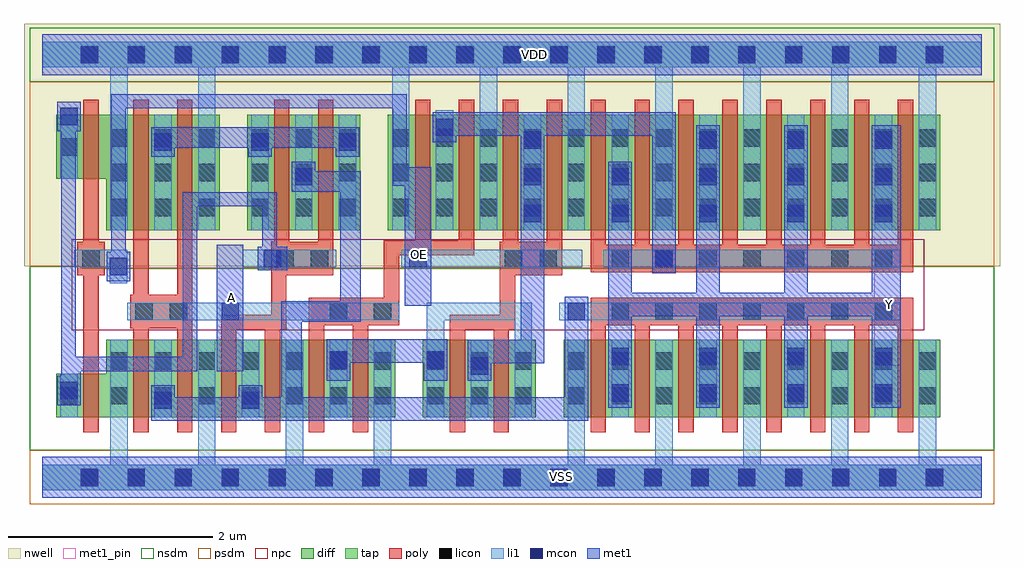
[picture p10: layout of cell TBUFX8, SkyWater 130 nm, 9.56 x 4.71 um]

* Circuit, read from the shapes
.subckt TBUFX8 A OE VDD VSS Y
XM1 VSS OE n1 VSS sky130_fd_pr__nfet_01v8 w=0.425 l=0.15
XM2 n2 A VSS VSS sky130_fd_pr__nfet_01v8 w=0.76 l=0.15 m=2
XM3 n2 n1 VSS VSS sky130_fd_pr__nfet_01v8 w=0.76 l=0.15 m=2
XM4 n3 A VSS VSS sky130_fd_pr__nfet_01v8 w=0.76 l=0.15 m=2
XM5 n4 OE n3 VSS sky130_fd_pr__nfet_01v8 w=0.76 l=0.15 m=2
XM6 Y n2 VSS VSS sky130_fd_pr__nfet_01v8 w=0.76 l=0.15 m=8
XM7 VDD OE n1 VDD sky130_fd_pr__pfet_01v8 w=0.625 l=0.15
XM8 n5 A VDD VDD sky130_fd_pr__pfet_01v8 w=1.13 l=0.15 m=2
XM9 n2 n1 n5 VDD sky130_fd_pr__pfet_01v8 w=1.13 l=0.15 m=2
XM10 n4 A VDD VDD sky130_fd_pr__pfet_01v8 w=1.13 l=0.15 m=2
XM11 n4 OE VDD VDD sky130_fd_pr__pfet_01v8 w=1.13 l=0.15 m=2
XM12 Y n4 VDD VDD sky130_fd_pr__pfet_01v8 w=1.13 l=0.15 m=8
.ends

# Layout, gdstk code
from math import pi, radians
import gdstk
lib = gdstk.Library(unit=1e-6, precision=1e-09)
def R(c, l, rs):  # rectangles x0, y0, x1, y1
    for r in rs: c.add(gdstk.rectangle(r[:2], r[2:], *l))
def A(c, l, x, y, w, h, nx, ny, dx, dy):  # array of equal rectangles
    R(c, l, [(x+i*dx, y+j*dy, x+i*dx+w, y+j*dy+h) for i in range(nx) for j in range(ny)])
def P(c, l, *ps):  # polygons
    for p in ps: c.add(gdstk.Polygon(p, *l))
nwell = (64, 20)
diff = (65, 20)
tap = (65, 44)
poly = (66, 20)
licon = (66, 44)
li1 = (67, 20)
mcon = (67, 44)
met1_pin = (68, 16)
met1 = (68, 20)
nsdm = (93, 44)
psdm = (94, 20)
npc = (95, 20)

pfet_01v8_cdns_715785618 = lib.new_cell('pfet_01v8_CDNS_7157856182056')
R(pfet_01v8_cdns_715785618, nwell, [(-0.235,-0.18,3.605,1.31)])
A(pfet_01v8_cdns_715785618, diff, 0, 0, 0.15, 1.13, 8, 1, 0.43, 0)
A(pfet_01v8_cdns_715785618, diff, 0.15, 0, 0.28, 1.13, 7, 1, 0.43, 0)
R(pfet_01v8_cdns_715785618, diff, [(-0.055,0,0,1.13), (3.16,0,3.425,1.13)])
A(pfet_01v8_cdns_715785618, poly, 0, -0.15, 0.15, 0.055, 8, 2, 0.43, 1.375)
A(pfet_01v8_cdns_715785618, poly, 0, -0.095, 0.15, 0.095, 8, 2, 0.43, 1.225)
A(pfet_01v8_cdns_715785618, poly, 0, 0, 0.15, 1.13, 8, 1, 0.43, 0)
A(pfet_01v8_cdns_715785618, licon, 0.205, 0.14, 0.17, 0.17, 8, 3, 0.43, 0.34)
A(pfet_01v8_cdns_715785618, li1, 0.205, 0, 0.17, 1.13, 8, 1, 0.43, 0)
R(pfet_01v8_cdns_715785618, psdm, [(-0.065,-0.13,3.565,1.26)])

nfet_01v8_cdns_715785618 = lib.new_cell('nfet_01v8_CDNS_7157856182057')
R(nfet_01v8_cdns_715785618, diff, [(-0.055,0,0,0.76), (0,0,0.15,0.76), (0.15,0,0.43,0.76), (0.43,0,0.58,0.76), (0.58,0,0.845,0.76)])
R(nfet_01v8_cdns_715785618, poly, [(0,-0.15,0.15,-0.095), (0.43,-0.15,0.58,-0.095), (0,-0.095,0.15,0), (0.43,-0.095,0.58,0), (0,0,0.15,0.76), (0.43,0,0.58,0.76), (0,0.76,0.15,0.855), (0.43,0.76,0.58,0.855), (0,0.855,0.15,0.91), (0.43,0.855,0.58,0.91)])
R(nfet_01v8_cdns_715785618, licon, [(0.205,0.125,0.375,0.295), (0.635,0.125,0.805,0.295), (0.205,0.465,0.375,0.635), (0.635,0.465,0.805,0.635)])
R(nfet_01v8_cdns_715785618, li1, [(0.205,0,0.375,0.76), (0.635,0,0.805,0.76)])
R(nfet_01v8_cdns_715785618, nsdm, [(-0.065,-0.13,0.985,0.89)])

c_nfet_01v8_cdns_715785618 = lib.new_cell('nfet_01v8_CDNS_7157856182058')
R(c_nfet_01v8_cdns_715785618, diff, [(-0.055,0,0,0.76), (0,0,0.15,0.76), (0.15,0,0.43,0.76), (0.43,0,0.58,0.76), (0.58,0,0.805,0.76)])
R(c_nfet_01v8_cdns_715785618, poly, [(0,-0.15,0.15,-0.095), (0.43,-0.15,0.58,-0.095), (0,-0.095,0.15,0), (0.43,-0.095,0.58,0), (0,0,0.15,0.76), (0.43,0,0.58,0.76), (0,0.76,0.15,0.855), (0.43,0.76,0.58,0.855), (0,0.855,0.15,0.91), (0.43,0.855,0.58,0.91)])
R(c_nfet_01v8_cdns_715785618, licon, [(0.205,0.125,0.375,0.295), (0.635,0.125,0.805,0.295), (0.205,0.465,0.375,0.635), (0.635,0.465,0.805,0.635)])
R(c_nfet_01v8_cdns_715785618, li1, [(0.205,0,0.375,0.76), (0.635,0,0.805,0.76)])
R(c_nfet_01v8_cdns_715785618, nsdm, [(-0.065,-0.13,0.815,0.89)])

c_pfet_01v8_cdns_715785618 = lib.new_cell('pfet_01v8_CDNS_7157856182059')
R(c_pfet_01v8_cdns_715785618, nwell, [(-0.235,-0.18,0.985,1.31)])
R(c_pfet_01v8_cdns_715785618, diff, [(-0.055,0,0,1.13), (0,0,0.15,1.13), (0.15,0,0.43,1.13), (0.43,0,0.58,1.13), (0.58,0,0.805,1.13)])
R(c_pfet_01v8_cdns_715785618, poly, [(0,-0.15,0.15,-0.095), (0.43,-0.15,0.58,-0.095), (0,-0.095,0.15,0), (0.43,-0.095,0.58,0), (0,0,0.15,1.13), (0.43,0,0.58,1.13), (0,1.13,0.15,1.225), (0.43,1.13,0.58,1.225), (0,1.225,0.15,1.28), (0.43,1.225,0.58,1.28)])
A(c_pfet_01v8_cdns_715785618, licon, 0.205, 0.14, 0.17, 0.17, 1, 3, 0, 0.34)
A(c_pfet_01v8_cdns_715785618, licon, 0.635, 0.14, 0.17, 0.17, 1, 3, 0, 0.34)
R(c_pfet_01v8_cdns_715785618, li1, [(0.205,0,0.375,1.13), (0.635,0,0.805,1.13)])
R(c_pfet_01v8_cdns_715785618, psdm, [(-0.065,-0.13,0.815,1.26)])

c_pfet_01v8_cdns_715785618_ = lib.new_cell('pfet_01v8_CDNS_7157856182060')
R(c_pfet_01v8_cdns_715785618_, nwell, [(-0.445,-0.18,1.025,1.31)])
R(c_pfet_01v8_cdns_715785618_, diff, [(-0.265,0,0,1.13), (0,0,0.15,1.13), (0.15,0,0.43,1.13), (0.43,0,0.58,1.13), (0.58,0,0.845,1.13)])
R(c_pfet_01v8_cdns_715785618_, poly, [(0,-0.15,0.15,-0.095), (0.43,-0.15,0.58,-0.095), (0,-0.095,0.15,0), (0.43,-0.095,0.58,0), (0,0,0.15,1.13), (0.43,0,0.58,1.13), (0,1.13,0.15,1.225), (0.43,1.13,0.58,1.225), (0,1.225,0.15,1.28), (0.43,1.225,0.58,1.28)])
A(c_pfet_01v8_cdns_715785618_, licon, -0.225, 0.14, 0.17, 0.17, 3, 3, 0.43, 0.34)
A(c_pfet_01v8_cdns_715785618_, li1, -0.225, 0, 0.17, 1.13, 3, 1, 0.43, 0)
R(c_pfet_01v8_cdns_715785618_, psdm, [(-0.405,-0.13,0.985,1.26)])

c_nfet_01v8_cdns_715785618_ = lib.new_cell('nfet_01v8_CDNS_7157856182061')
R(c_nfet_01v8_cdns_715785618_, diff, [(-0.265,0,0,0.76), (0,0,0.15,0.76), (0.15,0,0.43,0.76), (0.43,0,0.58,0.76), (0.58,0,0.845,0.76)])
R(c_nfet_01v8_cdns_715785618_, poly, [(0,-0.15,0.15,-0.095), (0.43,-0.15,0.58,-0.095), (0,-0.095,0.15,0), (0.43,-0.095,0.58,0), (0,0,0.15,0.76), (0.43,0,0.58,0.76), (0,0.76,0.15,0.855), (0.43,0.76,0.58,0.855), (0,0.855,0.15,0.91), (0.43,0.855,0.58,0.91)])
A(c_nfet_01v8_cdns_715785618_, licon, -0.225, 0.125, 0.17, 0.17, 3, 2, 0.43, 0.34)
A(c_nfet_01v8_cdns_715785618_, li1, -0.225, 0, 0.17, 0.76, 3, 1, 0.43, 0)
R(c_nfet_01v8_cdns_715785618_, nsdm, [(-0.405,-0.13,0.985,0.89)])

c_pfet_01v8_cdns_715785618__ = lib.new_cell('pfet_01v8_CDNS_7157856182062')
R(c_pfet_01v8_cdns_715785618__, nwell, [(-0.255,-0.18,0.595,0.805)])
R(c_pfet_01v8_cdns_715785618__, diff, [(-0.075,0,0,0.625), (0,0,0.15,0.625), (0.15,0,0.415,0.625)])
R(c_pfet_01v8_cdns_715785618__, poly, [(0,-0.15,0.15,-0.095), (0,-0.095,0.15,0), (0,0,0.15,0.625), (0,0.625,0.15,0.72), (0,0.72,0.15,0.775)])
R(c_pfet_01v8_cdns_715785618__, licon, [(0.205,0.225,0.375,0.395)])
R(c_pfet_01v8_cdns_715785618__, li1, [(0.205,0,0.375,0.625)])
R(c_pfet_01v8_cdns_715785618__, psdm, [(0.045,-0.13,0.555,0.755)])

c_nfet_01v8_cdns_715785618__ = lib.new_cell('nfet_01v8_CDNS_7157856182063')
R(c_nfet_01v8_cdns_715785618__, diff, [(-0.265,0,0,0.76), (0,0,0.15,0.76), (0.15,0,0.43,0.76), (0.43,0,0.58,0.76), (0.58,0,0.805,0.76)])
R(c_nfet_01v8_cdns_715785618__, poly, [(0,-0.15,0.15,-0.095), (0.43,-0.15,0.58,-0.095), (0,-0.095,0.15,0), (0.43,-0.095,0.58,0), (0,0,0.15,0.76), (0.43,0,0.58,0.76), (0,0.76,0.15,0.855), (0.43,0.76,0.58,0.855), (0,0.855,0.15,0.91), (0.43,0.855,0.58,0.91)])
A(c_nfet_01v8_cdns_715785618__, licon, -0.225, 0.125, 0.17, 0.17, 3, 2, 0.43, 0.34)
A(c_nfet_01v8_cdns_715785618__, li1, -0.225, 0, 0.17, 0.76, 3, 1, 0.43, 0)
R(c_nfet_01v8_cdns_715785618__, nsdm, [(-0.405,-0.13,0.815,0.89)])

c_nfet_01v8_cdns_715785618___ = lib.new_cell('nfet_01v8_CDNS_7157856182064')
A(c_nfet_01v8_cdns_715785618___, diff, 0, 0, 0.15, 0.76, 8, 1, 0.43, 0)
A(c_nfet_01v8_cdns_715785618___, diff, 0.15, 0, 0.28, 0.76, 7, 1, 0.43, 0)
R(c_nfet_01v8_cdns_715785618___, diff, [(-0.265,0,0,0.76), (3.16,0,3.425,0.76)])
A(c_nfet_01v8_cdns_715785618___, poly, 0, -0.15, 0.15, 0.055, 8, 2, 0.43, 1.005)
A(c_nfet_01v8_cdns_715785618___, poly, 0, -0.095, 0.15, 0.095, 8, 2, 0.43, 0.855)
A(c_nfet_01v8_cdns_715785618___, poly, 0, 0, 0.15, 0.76, 8, 1, 0.43, 0)
A(c_nfet_01v8_cdns_715785618___, licon, -0.225, 0.125, 0.17, 0.17, 9, 2, 0.43, 0.34)
A(c_nfet_01v8_cdns_715785618___, li1, -0.225, 0, 0.17, 0.76, 9, 1, 0.43, 0)
R(c_nfet_01v8_cdns_715785618___, nsdm, [(-0.405,-0.13,3.565,0.89)])

c_nfet_01v8_cdns_715785618____ = lib.new_cell('nfet_01v8_CDNS_7157856182065')
R(c_nfet_01v8_cdns_715785618____, diff, [(-0.075,0,0,0.425), (0,0,0.15,0.425), (0.15,0,0.415,0.425)])
R(c_nfet_01v8_cdns_715785618____, poly, [(0,-0.15,0.15,-0.095), (0,-0.095,0.15,0), (0,0,0.15,0.425), (0,0.425,0.15,0.52), (0,0.52,0.15,0.575)])
R(c_nfet_01v8_cdns_715785618____, licon, [(0.205,0.125,0.375,0.295)])
R(c_nfet_01v8_cdns_715785618____, li1, [(0.205,0,0.375,0.425)])
R(c_nfet_01v8_cdns_715785618____, nsdm, [(0.045,-0.13,0.555,0.555)])

c_pfet_01v8_cdns_715785618___ = lib.new_cell('pfet_01v8_CDNS_7157856182066')
R(c_pfet_01v8_cdns_715785618___, nwell, [(-0.445,-0.18,1.025,1.31)])
R(c_pfet_01v8_cdns_715785618___, diff, [(-0.265,0,0,1.13), (0,0,0.15,1.13), (0.15,0,0.43,1.13), (0.43,0,0.58,1.13), (0.58,0,0.845,1.13)])
R(c_pfet_01v8_cdns_715785618___, poly, [(0,-0.15,0.15,-0.095), (0.43,-0.15,0.58,-0.095), (0,-0.095,0.15,0), (0.43,-0.095,0.58,0), (0,0,0.15,1.13), (0.43,0,0.58,1.13), (0,1.13,0.15,1.225), (0.43,1.13,0.58,1.225), (0,1.225,0.15,1.28), (0.43,1.225,0.58,1.28)])
A(c_pfet_01v8_cdns_715785618___, licon, -0.225, 0.14, 0.17, 0.17, 3, 3, 0.43, 0.34)
A(c_pfet_01v8_cdns_715785618___, li1, -0.225, 0, 0.17, 1.13, 3, 1, 0.43, 0)
R(c_pfet_01v8_cdns_715785618___, psdm, [(-0.405,-0.13,0.985,1.26)])

c_pfet_01v8_cdns_715785618____ = lib.new_cell('pfet_01v8_CDNS_7157856182067')
R(c_pfet_01v8_cdns_715785618____, nwell, [(-0.445,-0.18,0.985,1.31)])
R(c_pfet_01v8_cdns_715785618____, diff, [(-0.265,0,0,1.13), (0,0,0.15,1.13), (0.15,0,0.43,1.13), (0.43,0,0.58,1.13), (0.58,0,0.805,1.13)])
R(c_pfet_01v8_cdns_715785618____, poly, [(0,-0.15,0.15,-0.095), (0.43,-0.15,0.58,-0.095), (0,-0.095,0.15,0), (0.43,-0.095,0.58,0), (0,0,0.15,1.13), (0.43,0,0.58,1.13), (0,1.13,0.15,1.225), (0.43,1.13,0.58,1.225), (0,1.225,0.15,1.28), (0.43,1.225,0.58,1.28)])
A(c_pfet_01v8_cdns_715785618____, licon, -0.225, 0.14, 0.17, 0.17, 3, 3, 0.43, 0.34)
A(c_pfet_01v8_cdns_715785618____, li1, -0.225, 0, 0.17, 1.13, 3, 1, 0.43, 0)
R(c_pfet_01v8_cdns_715785618____, psdm, [(-0.405,-0.13,0.815,1.26)])

l1m1_c_cdns_715785618208 = lib.new_cell('L1M1_C_CDNS_715785618208')
R(l1m1_c_cdns_715785618208, li1, [(-0.085,-0.085,0.085,0.085)])
R(l1m1_c_cdns_715785618208, mcon, [(-0.085,-0.085,0.085,0.085)])
R(l1m1_c_cdns_715785618208, met1, [(-0.115,-0.145,0.115,0.145)])

l1m1_c_cdns_715785618203 = lib.new_cell('L1M1_C_CDNS_715785618203')
R(l1m1_c_cdns_715785618203, li1, [(-0.165,-0.085,0.165,0.085)])
R(l1m1_c_cdns_715785618203, mcon, [(-0.085,-0.085,0.085,0.085)])
R(l1m1_c_cdns_715785618203, met1, [(-0.115,-0.145,0.115,0.145)])

pyl1con_c_cdns_715785618 = lib.new_cell('PYL1CON_C_CDNS_715785618200')
R(pyl1con_c_cdns_715785618, poly, [(-0.135,-0.165,0.135,0.165)])
R(pyl1con_c_cdns_715785618, licon, [(-0.085,-0.085,0.085,0.085)])
R(pyl1con_c_cdns_715785618, npc, [(-0.185,-0.185,0.185,0.185)])

l1m1_c_cdns_715785618202 = lib.new_cell('L1M1_C_CDNS_715785618202')
R(l1m1_c_cdns_715785618202, li1, [(-0.085,-0.165,0.085,0.165)])
R(l1m1_c_cdns_715785618202, mcon, [(-0.085,-0.085,0.085,0.085)])
R(l1m1_c_cdns_715785618202, met1, [(-0.115,-0.145,0.115,0.145)])

l1m1_c_cdns_715785618205 = lib.new_cell('L1M1_C_CDNS_715785618205')
R(l1m1_c_cdns_715785618205, li1, [(-0.085,-0.345,0.085,0.345)])
R(l1m1_c_cdns_715785618205, mcon, [(-0.085,-0.265,0.085,-0.095), (-0.085,0.095,0.085,0.265)])
R(l1m1_c_cdns_715785618205, met1, [(-0.115,-0.325,0.115,0.325)])

l1m1_c_cdns_715785618204 = lib.new_cell('L1M1_C_CDNS_715785618204')
R(l1m1_c_cdns_715785618204, li1, [(-0.085,-0.525,0.085,0.525)])
A(l1m1_c_cdns_715785618204, mcon, -0.085, -0.445, 0.17, 0.17, 1, 3, 0, 0.36)
R(l1m1_c_cdns_715785618204, met1, [(-0.115,-0.505,0.115,0.505)])

l1m1_c_cdns_715785618201 = lib.new_cell('L1M1_C_CDNS_7157856182019')
R(l1m1_c_cdns_715785618201, li1, [(-0.085,-0.145,0.085,0.145)])
R(l1m1_c_cdns_715785618201, mcon, [(-0.085,-0.085,0.085,0.085)])
R(l1m1_c_cdns_715785618201, met1, [(-0.115,-0.205,0.115,0.205)])

c_l1m1_c_cdns_715785618201 = lib.new_cell('L1M1_C_CDNS_7157856182014')
R(c_l1m1_c_cdns_715785618201, li1, [(-0.085,-0.165,0.085,0.085)])
R(c_l1m1_c_cdns_715785618201, mcon, [(-0.085,-0.085,0.085,0.085)])
R(c_l1m1_c_cdns_715785618201, met1, [(-0.115,-0.145,0.115,0.145)])

l1m1_c_cdns_715785618207 = lib.new_cell('L1M1_C_CDNS_715785618207')
R(l1m1_c_cdns_715785618207, li1, [(-0.165,-0.085,0.165,0.085)])
R(l1m1_c_cdns_715785618207, mcon, [(-0.085,-0.085,0.085,0.085)])
R(l1m1_c_cdns_715785618207, met1, [(-0.145,-0.115,0.145,0.115)])

tbufx8 = lib.new_cell('TBUFX8')
R(tbufx8, nwell, [(-0.18,2.07,9.38,4.445), (-0.18,3.875,9.38,4.445)])
R(tbufx8, poly, [(0.86,1.46,1.47,1.79), (2.24,1.98,2.85,2.31), (4.48,1.98,5.09,2.31)])
A(tbufx8, licon, 0.375, -0.085, 0.17, 0.17, 19, 2, 0.46, 4.14)
A(tbufx8, mcon, 0.375, -0.085, 0.17, 0.17, 19, 2, 0.46, 4.14)
R(tbufx8, met1_pin, [(1.71,1.04,1.97,2.28), (8.15,1.095,8.41,2.335), (3.55,1.68,3.81,3.04)])
R(tbufx8, met1, [(8.125,0.68,8.41,3.45), (3.55,1.68,3.81,3.04)])
R(tbufx8, nsdm, [(-0.125,3.875,9.325,4.405), (-0.125,3.93,9.325,4.35)])
P(tbufx8, nsdm, [(9.325,2.07),(8.325,2.07),(8.325,2.05),(0.39,2.05),(0.39,2.07),(-0.125,2.07),(-0.125,0.265),(9.325,0.265)])
R(tbufx8, psdm, [(-0.125,-0.265,9.325,0.265), (-0.125,-0.21,9.325,0.21)])
P(tbufx8, psdm, [(9.325,3.875),(-0.125,3.875),(-0.125,2.07),(0.37,2.07),(0.37,2.05),(8.345,2.05),(8.345,2.07),(9.325,2.07)])
R(tbufx8, npc, [(0.29,1.44,8.64,2.33)])
tbufx8.add(gdstk.FlexPath([(1.75,1.52),(2.315,1.52)], 0.15, ends=(0, 0.075), simple_path=True, layer=66, datatype=20))  # poly
tbufx8.add(gdstk.FlexPath([(1.395,1.445),(1.395,2.325)], 0.15, ends="flush", simple_path=True, layer=66, datatype=20))  # poly
tbufx8.add(gdstk.FlexPath([(4.23,2.25),(3.42,2.25)], 0.15, ends=(0, 0.075), simple_path=True, layer=66, datatype=20))  # poly
tbufx8.add(gdstk.FlexPath([(3.115,1.49),(3.115,1.76)], 0.15, ends="flush", simple_path=True, layer=66, datatype=20))  # poly
tbufx8.add(gdstk.FlexPath([(2.685,1.49),(2.685,1.76)], 0.15, ends="flush", simple_path=True, layer=66, datatype=20))  # poly
tbufx8.add(gdstk.FlexPath([(0.475,1.11),(0.475,2.83)], 0.15, ends="flush", simple_path=True, layer=66, datatype=20))  # poly
tbufx8.add(gdstk.FlexPath([(0.965,1.445),(0.965,2.325)], 0.15, ends="flush", simple_path=True, layer=66, datatype=20))  # poly
tbufx8.add(gdstk.FlexPath([(2.315,1.52),(2.315,2.31)], 0.15, ends=(0.075, 0), simple_path=True, layer=66, datatype=20))  # poly
tbufx8.add(gdstk.FlexPath([(8.455,2.01),(8.455,2.28)], 0.15, ends="flush", simple_path=True, layer=66, datatype=20))  # poly
tbufx8.add(gdstk.FlexPath([(8.025,2.01),(8.025,2.28)], 0.15, ends="flush", simple_path=True, layer=66, datatype=20))  # poly
tbufx8.add(gdstk.FlexPath([(7.165,2.01),(7.165,2.28)], 0.15, ends="flush", simple_path=True, layer=66, datatype=20))  # poly
tbufx8.add(gdstk.FlexPath([(7.595,2.01),(7.595,2.28)], 0.15, ends="flush", simple_path=True, layer=66, datatype=20))  # poly
tbufx8.add(gdstk.FlexPath([(3.42,2.25),(3.42,1.49)], 0.15, ends=(0.075, 0), simple_path=True, layer=66, datatype=20))  # poly
tbufx8.add(gdstk.FlexPath([(4.555,1.52),(4.555,2.31)], 0.15, ends=(0.075, 0), simple_path=True, layer=66, datatype=20))  # poly
tbufx8.add(gdstk.FlexPath([(3.99,1.52),(4.555,1.52)], 0.15, ends=(0, 0.075), simple_path=True, layer=66, datatype=20))  # poly
tbufx8.add(gdstk.FlexPath([(6.735,2.01),(6.735,2.28)], 0.15, ends="flush", simple_path=True, layer=66, datatype=20))  # poly
tbufx8.add(gdstk.FlexPath([(5.445,2.01),(5.445,2.28)], 0.15, ends="flush", simple_path=True, layer=66, datatype=20))  # poly
tbufx8.add(gdstk.FlexPath([(5.875,2.01),(5.875,2.28)], 0.15, ends="flush", simple_path=True, layer=66, datatype=20))  # poly
tbufx8.add(gdstk.FlexPath([(6.305,2.01),(6.305,2.28)], 0.15, ends="flush", simple_path=True, layer=66, datatype=20))  # poly
tbufx8.add(gdstk.FlexPath([(8.455,1.49),(8.455,1.76)], 0.15, ends="flush", simple_path=True, layer=66, datatype=20))  # poly
tbufx8.add(gdstk.FlexPath([(7.165,1.49),(7.165,1.76)], 0.15, ends="flush", simple_path=True, layer=66, datatype=20))  # poly
tbufx8.add(gdstk.FlexPath([(7.595,1.49),(7.595,1.76)], 0.15, ends="flush", simple_path=True, layer=66, datatype=20))  # poly
tbufx8.add(gdstk.FlexPath([(6.305,1.49),(6.305,1.76)], 0.15, ends="flush", simple_path=True, layer=66, datatype=20))  # poly
tbufx8.add(gdstk.FlexPath([(8.025,1.49),(8.025,1.76)], 0.15, ends="flush", simple_path=True, layer=66, datatype=20))  # poly
tbufx8.add(gdstk.FlexPath([(6.735,1.49),(6.735,1.76)], 0.15, ends="flush", simple_path=True, layer=66, datatype=20))  # poly
tbufx8.add(gdstk.FlexPath([(5.445,1.49),(5.445,1.76)], 0.15, ends="flush", simple_path=True, layer=66, datatype=20))  # poly
tbufx8.add(gdstk.FlexPath([(5.875,1.49),(5.875,1.76)], 0.15, ends="flush", simple_path=True, layer=66, datatype=20))  # poly
tbufx8.add(gdstk.FlexPath([(0,4.14),(9.2,4.14)], 0.4, ends="flush", simple_path=True, layer=68, datatype=16))  # met1_pin
tbufx8.add(gdstk.FlexPath([(0,0),(9.2,0)], 0.4, ends="flush", simple_path=True, layer=68, datatype=16))  # met1_pin
tbufx8.add(gdstk.FlexPath([(0.745,2.195),(0.755,2.195)], 0.14, ends=(0.07, 0), simple_path=True, layer=68, datatype=20))  # met1
tbufx8.add(gdstk.FlexPath([(0.255,0.85),(0.26,0.85)], 0.14, ends=(0.07, 0), simple_path=True, layer=68, datatype=20))  # met1
tbufx8.add(gdstk.FlexPath([(3.5,2.925),(3.5,3.685)], 0.14, ends="extended", simple_path=True, layer=68, datatype=20))  # met1
tbufx8.add(gdstk.FlexPath([(3.68,2.925),(3.5,2.925)], 0.14, ends="extended", simple_path=True, layer=68, datatype=20))  # met1
tbufx8.add(gdstk.FlexPath([(0.305,0.85),(0.305,1.11)], 0.14, ends=(0.145, 0), simple_path=True, layer=68, datatype=20))  # met1
tbufx8.add(gdstk.FlexPath([(0.26,0.85),(0.305,0.85)], 0.29, ends=(0, 0.07), simple_path=True, layer=68, datatype=20))  # met1
tbufx8.add(gdstk.FlexPath([(3.02,1.625),(2.44,1.625)], 0.2, ends="extended", simple_path=True, layer=68, datatype=20))  # met1
tbufx8.add(gdstk.FlexPath([(0,0),(9.2,0)], 0.4, ends="flush", simple_path=True, layer=68, datatype=20))  # met1
tbufx8.add(gdstk.FlexPath([(3.68,1.98),(3.68,2.925)], 0.14, ends=(0, 0.07), simple_path=True, layer=68, datatype=20))  # met1
tbufx8.add(gdstk.FlexPath([(1.445,2.725),(2.225,2.725)], 0.14, ends="extended", simple_path=True, layer=68, datatype=20))  # met1
tbufx8.add(gdstk.FlexPath([(1.445,1.11),(1.445,2.54)], 0.14, ends="extended", simple_path=True, layer=68, datatype=20))  # met1
tbufx8.add(gdstk.FlexPath([(3.02,2.9),(3.02,1.625)], 0.2, ends="extended", simple_path=True, layer=68, datatype=20))  # met1
tbufx8.add(gdstk.FlexPath([(0.745,3.685),(0.745,2.195)], 0.14, ends="extended", simple_path=True, layer=68, datatype=20))  # met1
tbufx8.add(gdstk.FlexPath([(0.255,3.535),(0.26,3.535)], 0.14, ends=(0.07, 0), simple_path=True, layer=68, datatype=20))  # met1
tbufx8.add(gdstk.FlexPath([(2.225,2.725),(2.225,2.145)], 0.14, ends="extended", simple_path=True, layer=68, datatype=20))  # met1
tbufx8.add(gdstk.FlexPath([(2.56,3.09),(2.56,2.9)], 0.2, ends=(0, 0.1), simple_path=True, layer=68, datatype=20))  # met1
tbufx8.add(gdstk.FlexPath([(1.84,1.04),(1.84,2.28)], 0.26, ends="flush", simple_path=True, layer=68, datatype=20))  # met1
tbufx8.add(gdstk.FlexPath([(8.28,0.68),(8.28,3.45)], 0.26, ends="flush", simple_path=True, layer=68, datatype=20))  # met1
tbufx8.add(gdstk.FlexPath([(2.225,2.145),(2.13,2.145)], 0.14, ends=(0.07, 0), simple_path=True, layer=68, datatype=20))  # met1
tbufx8.add(gdstk.FlexPath([(2.44,0.67),(2.44,0.65)], 0.2, ends=(0.115, 0), simple_path=True, layer=68, datatype=20))  # met1
tbufx8.add(gdstk.FlexPath([(2.95,3.33),(1.165,3.33)], 0.2, ends="flush", simple_path=True, layer=68, datatype=20))  # met1
tbufx8.add(gdstk.FlexPath([(2.44,1.625),(2.44,0.67)], 0.2, ends=(0.1, 0.115), simple_path=True, layer=68, datatype=20))  # met1
tbufx8.add(gdstk.FlexPath([(5.66,1.695),(8.24,1.695)], 0.23, ends="extended", simple_path=True, layer=68, datatype=20))  # met1
tbufx8.add(gdstk.FlexPath([(7.38,0.68),(7.38,3.45)], 0.23, ends="flush", simple_path=True, layer=68, datatype=20))  # met1
tbufx8.add(gdstk.FlexPath([(1.445,2.54),(1.445,2.725)], 0.14, ends="extended", simple_path=True, layer=68, datatype=20))  # met1
tbufx8.add(gdstk.FlexPath([(0.255,3.535),(0.255,0.85)], 0.14, ends="extended", simple_path=True, layer=68, datatype=20))  # met1
tbufx8.add(gdstk.FlexPath([(5.66,0.68),(5.66,3.09)], 0.23, ends="flush", simple_path=True, layer=68, datatype=20))  # met1
tbufx8.add(gdstk.FlexPath([(6.52,0.68),(6.52,3.45)], 0.23, ends="flush", simple_path=True, layer=68, datatype=20))  # met1
tbufx8.add(gdstk.FlexPath([(6.09,3.46),(6.09,2)], 0.23, ends=(0.115, 0), simple_path=True, layer=68, datatype=20))  # met1
tbufx8.add(gdstk.FlexPath([(2.56,2.9),(3.02,2.9)], 0.2, ends="extended", simple_path=True, layer=68, datatype=20))  # met1
tbufx8.add(gdstk.FlexPath([(4.8,1.235),(4.8,3.575)], 0.23, ends=(0.115, 0), simple_path=True, layer=68, datatype=20))  # met1
tbufx8.add(gdstk.FlexPath([(3.835,1.24),(2.885,1.24)], 0.23, ends="flush", simple_path=True, layer=68, datatype=20))  # met1
tbufx8.add(gdstk.FlexPath([(1.18,0.785),(1.18,0.67)], 0.23, ends=(0, 0.115), simple_path=True, layer=68, datatype=20))  # met1
tbufx8.add(gdstk.FlexPath([(1.18,0.67),(2.44,0.67)], 0.23, ends=(0.115, 0.1), simple_path=True, layer=68, datatype=20))  # met1
tbufx8.add(gdstk.FlexPath([(5.23,0.67),(5.23,1.77)], 0.23, ends=(0.115, 0), simple_path=True, layer=68, datatype=20))  # met1
tbufx8.add(gdstk.FlexPath([(3.94,3.46),(6.09,3.46)], 0.23, ends=(0, 0.115), simple_path=True, layer=68, datatype=20))  # met1
tbufx8.add(gdstk.FlexPath([(0,4.14),(9.2,4.14)], 0.4, ends="flush", simple_path=True, layer=68, datatype=20))  # met1
tbufx8.add(gdstk.FlexPath([(0.235,1.11),(1.445,1.11)], 0.14, ends=(0, 0.07), simple_path=True, layer=68, datatype=20))  # met1
tbufx8.add(gdstk.FlexPath([(2.44,0.67),(5.23,0.67)], 0.23, ends=(0.1, 0.115), simple_path=True, layer=68, datatype=20))  # met1
tbufx8.add(gdstk.FlexPath([(3.5,3.685),(0.745,3.685)], 0.14, ends="extended", simple_path=True, layer=68, datatype=20))  # met1
tbufx8.add(gdstk.FlexPath([(4.165,1.235),(4.8,1.235)], 0.23, ends=(0, 0.115), simple_path=True, layer=68, datatype=20))  # met1
tbufx8.add(gdstk.FlexPath([(1.445,2.725),(1.48,2.725)], 0.14, ends="extended", simple_path=True, layer=68, datatype=20))  # met1
tbufx8.add(gdstk.FlexPath([(4.71,1.625),(4.71,1.35)], 0.17, ends="flush", simple_path=True, layer=67, datatype=20))  # li1
tbufx8.add(gdstk.FlexPath([(3.85,1.27),(3.85,1.625)], 0.17, ends=(0, 0.085), simple_path=True, layer=67, datatype=20))  # li1
tbufx8.add(gdstk.FlexPath([(0,0),(9.2,0)], 0.25, ends="flush", simple_path=True, layer=67, datatype=20))  # li1
tbufx8.add(gdstk.FlexPath([(2.88,2.145),(1.965,2.145)], 0.17, ends="flush", simple_path=True, layer=67, datatype=20))  # li1
tbufx8.add(gdstk.FlexPath([(0.74,2.145),(0.31,2.145)], 0.17, ends="flush", simple_path=True, layer=67, datatype=20))  # li1
tbufx8.add(gdstk.FlexPath([(5.29,2.145),(3.515,2.145)], 0.17, ends="flush", simple_path=True, layer=67, datatype=20))  # li1
tbufx8.add(gdstk.FlexPath([(0,4.14),(9.2,4.14)], 0.25, ends="flush", simple_path=True, layer=67, datatype=20))  # li1
tbufx8.add(gdstk.FlexPath([(4.37,2.925),(4.37,4.14)], 0.17, ends=(0, 0.125), simple_path=True, layer=67, datatype=20))  # li1
tbufx8.add(gdstk.FlexPath([(6.09,2.925),(6.09,4.14)], 0.17, ends=(0, 0.125), simple_path=True, layer=67, datatype=20))  # li1
tbufx8.add(gdstk.FlexPath([(6.95,2.925),(6.95,4.14)], 0.17, ends=(0, 0.125), simple_path=True, layer=67, datatype=20))  # li1
tbufx8.add(gdstk.FlexPath([(6.95,1.015),(6.95,0)], 0.17, ends=(0, 0.125), simple_path=True, layer=67, datatype=20))  # li1
tbufx8.add(gdstk.FlexPath([(6.09,1.015),(6.09,0)], 0.17, ends=(0, 0.125), simple_path=True, layer=67, datatype=20))  # li1
tbufx8.add(gdstk.FlexPath([(5.23,1.015),(5.23,0)], 0.17, ends=(0, 0.125), simple_path=True, layer=67, datatype=20))  # li1
tbufx8.add(gdstk.FlexPath([(3.85,1.625),(4.795,1.625)], 0.17, ends=(0.085, 0), simple_path=True, layer=67, datatype=20))  # li1
tbufx8.add(gdstk.FlexPath([(3.33,1.015),(3.33,0)], 0.17, ends=(0, 0.125), simple_path=True, layer=67, datatype=20))  # li1
tbufx8.add(gdstk.FlexPath([(2.47,1.015),(2.47,0)], 0.17, ends=(0, 0.125), simple_path=True, layer=67, datatype=20))  # li1
tbufx8.add(gdstk.FlexPath([(1.61,1.015),(1.61,0)], 0.17, ends=(0, 0.125), simple_path=True, layer=67, datatype=20))  # li1
tbufx8.add(gdstk.FlexPath([(0.75,1.015),(0.75,0)], 0.17, ends=(0, 0.125), simple_path=True, layer=67, datatype=20))  # li1
tbufx8.add(gdstk.FlexPath([(3.51,2.925),(3.51,4.14)], 0.17, ends=(0, 0.125), simple_path=True, layer=67, datatype=20))  # li1
tbufx8.add(gdstk.FlexPath([(1.61,2.925),(1.61,4.14)], 0.17, ends=(0, 0.125), simple_path=True, layer=67, datatype=20))  # li1
tbufx8.add(gdstk.FlexPath([(0.75,2.925),(0.75,4.14)], 0.17, ends=(0, 0.125), simple_path=True, layer=67, datatype=20))  # li1
tbufx8.add(gdstk.FlexPath([(5.23,2.925),(5.23,4.14)], 0.17, ends=(0, 0.125), simple_path=True, layer=67, datatype=20))  # li1
tbufx8.add(gdstk.FlexPath([(3.495,1.625),(0.83,1.625)], 0.17, ends="flush", simple_path=True, layer=67, datatype=20))  # li1
tbufx8.add(gdstk.FlexPath([(5.495,2.145),(8.405,2.145)], 0.17, ends="flush", simple_path=True, layer=67, datatype=20))  # li1
tbufx8.add(gdstk.FlexPath([(8.67,2.925),(8.67,4.14)], 0.17, ends=(0, 0.125), simple_path=True, layer=67, datatype=20))  # li1
tbufx8.add(gdstk.FlexPath([(8.67,1.015),(8.67,0)], 0.17, ends=(0, 0.125), simple_path=True, layer=67, datatype=20))  # li1
tbufx8.add(gdstk.FlexPath([(5.065,1.625),(8.405,1.625)], 0.17, ends="flush", simple_path=True, layer=67, datatype=20))  # li1
tbufx8.add(gdstk.FlexPath([(7.81,1.015),(7.81,0)], 0.17, ends=(0, 0.125), simple_path=True, layer=67, datatype=20))  # li1
tbufx8.add(gdstk.FlexPath([(7.81,2.925),(7.81,4.14)], 0.17, ends=(0, 0.125), simple_path=True, layer=67, datatype=20))  # li1
tbufx8.add(gdstk.FlexPath([(0,0),(9.2,0)], 0.25, ends="flush", simple_path=True, layer=65, datatype=44))  # tap
tbufx8.add(gdstk.FlexPath([(0,4.14),(9.2,4.14)], 0.25, ends="flush", simple_path=True, layer=65, datatype=44))  # tap
tbufx8.add(gdstk.Reference(pfet_01v8_cdns_715785618, (5.37,2.42)))
tbufx8.add(gdstk.Reference(nfet_01v8_cdns_715785618, (2.61,0.59)))
tbufx8.add(gdstk.Reference(c_nfet_01v8_cdns_715785618, (1.75,0.59)))
tbufx8.add(gdstk.Reference(c_pfet_01v8_cdns_715785618, (4.51,2.42)))
tbufx8.add(gdstk.Reference(c_pfet_01v8_cdns_715785618_, (0.89,2.42)))
tbufx8.add(gdstk.Reference(c_nfet_01v8_cdns_715785618_, (3.99,0.59)))
tbufx8.add(gdstk.Reference(c_pfet_01v8_cdns_715785618__, (0.55,2.925), rotation=pi, x_reflection=True))
tbufx8.add(gdstk.Reference(c_nfet_01v8_cdns_715785618__, (0.89,0.59)))
tbufx8.add(gdstk.Reference(c_nfet_01v8_cdns_715785618___, (5.37,0.59)))
tbufx8.add(gdstk.Reference(c_nfet_01v8_cdns_715785618____, (0.55,0.59), rotation=pi, x_reflection=True))
tbufx8.add(gdstk.Reference(c_pfet_01v8_cdns_715785618___, (2.27,2.42)))
tbufx8.add(gdstk.Reference(c_pfet_01v8_cdns_715785618____, (3.65,2.42)))
tbufx8.add(gdstk.Reference(l1m1_c_cdns_715785618208, (3.85,1.15)))
tbufx8.add(gdstk.Reference(l1m1_c_cdns_715785618208, (2.9,1.15)))
tbufx8.add(gdstk.Reference(l1m1_c_cdns_715785618203, (3.68,2.145), rotation=pi, x_reflection=True))
tbufx8.add(gdstk.Reference(l1m1_c_cdns_715785618203, (6.09,2.145)))
tbufx8.add(gdstk.Reference(l1m1_c_cdns_715785618203, (5.23,1.625)))
tbufx8.add(gdstk.Reference(l1m1_c_cdns_715785618203, (1.84,1.625), x_reflection=True))
tbufx8.add(gdstk.Reference(pyl1con_c_cdns_715785618, (2.375,2.145)))
tbufx8.add(gdstk.Reference(pyl1con_c_cdns_715785618, (2.715,2.145)))
tbufx8.add(gdstk.Reference(pyl1con_c_cdns_715785618, (4.615,2.145)))
tbufx8.add(gdstk.Reference(pyl1con_c_cdns_715785618, (1.335,1.625)))
tbufx8.add(gdstk.Reference(pyl1con_c_cdns_715785618, (0.995,1.625)))
tbufx8.add(gdstk.Reference(pyl1con_c_cdns_715785618, (6.95,1.625), rotation=3*pi/2))
tbufx8.add(gdstk.Reference(pyl1con_c_cdns_715785618, (0.475,2.145), rotation=pi))
tbufx8.add(gdstk.Reference(pyl1con_c_cdns_715785618, (5.66,2.145), rotation=3*pi/2))
tbufx8.add(gdstk.Reference(pyl1con_c_cdns_715785618, (6.52,2.145), rotation=3*pi/2))
tbufx8.add(gdstk.Reference(pyl1con_c_cdns_715785618, (6.09,2.145), rotation=3*pi/2))
tbufx8.add(gdstk.Reference(pyl1con_c_cdns_715785618, (6.95,2.145), rotation=3*pi/2))
tbufx8.add(gdstk.Reference(pyl1con_c_cdns_715785618, (7.38,1.625), rotation=3*pi/2))
tbufx8.add(gdstk.Reference(pyl1con_c_cdns_715785618, (8.24,1.625), rotation=3*pi/2))
tbufx8.add(gdstk.Reference(pyl1con_c_cdns_715785618, (7.81,1.625), rotation=3*pi/2))
tbufx8.add(gdstk.Reference(pyl1con_c_cdns_715785618, (5.66,1.625), rotation=3*pi/2))
tbufx8.add(gdstk.Reference(pyl1con_c_cdns_715785618, (6.52,1.625), rotation=3*pi/2))
tbufx8.add(gdstk.Reference(pyl1con_c_cdns_715785618, (4.955,2.145)))
tbufx8.add(gdstk.Reference(pyl1con_c_cdns_715785618, (2.9,1.625), rotation=3*pi/2))
tbufx8.add(gdstk.Reference(pyl1con_c_cdns_715785618, (3.33,1.625), rotation=3*pi/2))
tbufx8.add(gdstk.Reference(pyl1con_c_cdns_715785618, (8.24,2.145), rotation=3*pi/2))
tbufx8.add(gdstk.Reference(pyl1con_c_cdns_715785618, (7.81,2.145), rotation=3*pi/2))
tbufx8.add(gdstk.Reference(pyl1con_c_cdns_715785618, (7.38,2.145), rotation=3*pi/2))
tbufx8.add(gdstk.Reference(pyl1con_c_cdns_715785618, (6.09,1.625), rotation=3*pi/2))
tbufx8.add(gdstk.Reference(l1m1_c_cdns_715785618202, (2.56,2.945)))
tbufx8.add(gdstk.Reference(l1m1_c_cdns_715785618202, (2.99,3.285)))
tbufx8.add(gdstk.Reference(l1m1_c_cdns_715785618202, (1.18,3.285)))
tbufx8.add(gdstk.Reference(l1m1_c_cdns_715785618202, (4.28,1.09)))
tbufx8.add(gdstk.Reference(l1m1_c_cdns_715785618202, (3.94,3.43)))
tbufx8.add(gdstk.Reference(l1m1_c_cdns_715785618202, (1.18,0.755)))
tbufx8.add(gdstk.Reference(l1m1_c_cdns_715785618202, (2.04,0.755)))
tbufx8.add(gdstk.Reference(l1m1_c_cdns_715785618202, (0.26,0.85), rotation=pi, x_reflection=True))
tbufx8.add(gdstk.Reference(l1m1_c_cdns_715785618202, (2.13,3.285)))
tbufx8.add(gdstk.Reference(l1m1_c_cdns_715785618205, (5.66,2.765)))
tbufx8.add(gdstk.Reference(l1m1_c_cdns_715785618205, (6.52,1.005)))
tbufx8.add(gdstk.Reference(l1m1_c_cdns_715785618205, (5.66,1.005)))
tbufx8.add(gdstk.Reference(l1m1_c_cdns_715785618205, (7.38,1.005)))
tbufx8.add(gdstk.Reference(l1m1_c_cdns_715785618205, (8.24,1.005)))
tbufx8.add(gdstk.Reference(l1m1_c_cdns_715785618204, (4.8,2.945)))
tbufx8.add(gdstk.Reference(l1m1_c_cdns_715785618204, (6.52,2.945)))
tbufx8.add(gdstk.Reference(l1m1_c_cdns_715785618204, (7.38,2.945)))
tbufx8.add(gdstk.Reference(l1m1_c_cdns_715785618204, (8.24,2.945)))
tbufx8.add(gdstk.Reference(l1m1_c_cdns_715785618201, (2.9,1.15)))
tbufx8.add(gdstk.Reference(l1m1_c_cdns_715785618201, (3.85,1.15)))
tbufx8.add(gdstk.Reference(c_l1m1_c_cdns_715785618201, (0.26,3.535), rotation=pi, x_reflection=True))
tbufx8.add(gdstk.Reference(l1m1_c_cdns_715785618207, (2.255,2.145), rotation=pi, x_reflection=True))
tbufx8.add(gdstk.Reference(l1m1_c_cdns_715785618207, (0.745,2.065), rotation=pi/2, x_reflection=True))
tbufx8.add(gdstk.Label('VDD', (4.825,4.145), layer=68, texttype=16))
tbufx8.add(gdstk.Label('VSS', (5.085,0.005), layer=68, texttype=16))
tbufx8.add(gdstk.Label('Y', (8.295,1.69), layer=68, texttype=16))
tbufx8.add(gdstk.Label('A', (1.855,1.76), layer=68, texttype=16))
tbufx8.add(gdstk.Label('OE', (3.695,2.18), layer=68, texttype=16))

lib.write_gds('TBUFX8.gds')
